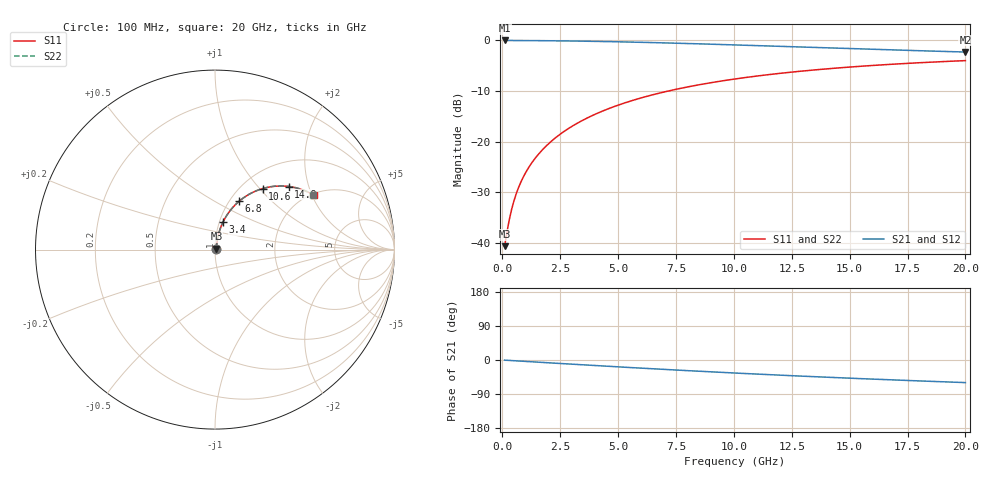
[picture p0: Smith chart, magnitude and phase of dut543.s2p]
! Touchstone file exported from HFSS 2026.1.0
!  File:  C:/ffzhzh/LocalFiles/Ansys_Project_Files/temp_train_BSMRDL_543_1783014991_53980.aedt
!  Generated:  01:58:31 AM Jul  3, 2026
!  Design:  BSMRDL
!  Project:  temp_train_BSMRDL_543_1783014991_53980
! Variables:
!  h_bsmrdl = 2.91um
!  h_ox = 20um
!  h_rdl = 5um
!  h_sub = 80um
!  h_tmrdl = 5um
!  h_tsv = 80um
!  h_via = 3um
!  l_bsmrdl = 843.81um
!  l_sub = 1243.81um
!  l_tmrdl = 200um
!  m_sub = 200um
!  pitch = 54.11um
!  r_tsv = 6um
!  s_tmrdl = 10um
!  w_bsmrdl = 13.01um
!  w_sub = 500um
!  w_tmrdl = 12um
!  x_tsv_center1 = 206um
!  x_tsv_center2 = 1062.82um
!  x_tsv_center3 = 1274.82um
!  x_tsv_center4 = 2131.64um
!  x_tsv_center5 = 2343.64um
!  x_tsv_center6 = 3200.46um
# GHz S MA R 50.000000
! Terminal data exported
! Port[1] = BSM_RDL1_1_T1
! Port[2] = BSM_RDL1_1_T2
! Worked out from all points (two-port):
!   200 points, 100 MHz to 20 GHz, reference 50 ohm
!   highest |S21| = -0.07 dB at 100 MHz (marker M1); lowest = -2.3 dB at 20 GHz (marker M2)
!   |S21| within 3 dB of the highest: start of sweep to end of sweep
!   lowest |S11| = -40.6 dB at 100 MHz (marker M3), VSWR 1.02, Z = 50.8 + j0.499 ohm
!   |S11| at or under -10 dB: start of sweep to 7.207 GHz
!   |S22| runs from -40.6 to -4.0 dB; largest |S21 - S12| = 5e-15
!   S11 on the Smith chart (normalised r, x): 100 MHz: 1.02, +0.01; 3.4 GHz: 1.04, +0.33; 6.8 GHz: 1.11, +0.65; 10.6 GHz: 1.24, +1.04; 14.9 GHz: 1.50, +1.49; 20 GHz: 2.05, +2.06
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0.1  0.009295 31.9  0.9921 -0.4  0.9921 -0.4  0.009294 31.9
! Gamma 0 0 0 0
! Port Impedance 50 0 50 0
0.3  0.01686 60.3  0.9918 -1.1  0.9918 -1.1  0.01685 60.3
0.4  0.0213 65.8  0.9916 -1.5  0.9916 -1.5  0.0213 65.8
0.5  0.02585 69.3  0.9913 -1.9  0.9913 -1.9  0.02585 69.3
0.6  0.03045 71.5  0.9911 -2.3  0.9911 -2.3  0.03045 71.5
0.8  0.03968 74.3  0.9905 -3.0  0.9905 -3.0  0.03968 74.3
1.1  0.05357 76.2  0.9896 -4.1  0.9896 -4.1  0.05356 76.2
1.5  0.07208 77.0  0.9882 -5.6  0.9882 -5.6  0.07208 77.0
2  0.09518 76.9  0.986 -7.4  0.986 -7.4  0.09518 76.9
2.6  0.1227 75.8  0.9827 -9.6  0.9827 -9.6  0.1227 75.9
3.4  0.1588 73.9  0.9772 -12.4  0.9772 -12.4  0.1588 73.9
3.5  0.1633 73.6  0.9764 -12.8  0.9764 -12.8  0.1633 73.6
4.2  0.1941 71.6  0.9705 -15.3  0.9705 -15.3  0.1941 71.6
5  0.2283 69.1  0.9626 -18.1  0.9626 -18.1  0.2283 69.2
6.8  0.3008 63.5  0.9417 -24.2  0.9417 -24.2  0.3008 63.6
8.3  0.3559 58.9  0.9217 -29.0  0.9217 -29.0  0.3559 58.9
10.1  0.4154 53.5  0.8959 -34.6  0.8959 -34.6  0.4154 53.6
10.6  0.4307 52.1  0.8886 -36.0  0.8886 -36.0  0.4307 52.2
13.4  0.5062 44.4  0.8475 -43.8  0.8475 -43.8  0.5062 44.5
14.9  0.5402 40.6  0.8263 -47.7  0.8263 -47.7  0.5402 40.7
16.7  0.5757 36.3  0.8022 -52.2  0.8022 -52.2  0.5757 36.4
20  0.6278 28.9  0.763 -59.6  0.763 -59.6  0.6277 29.1
